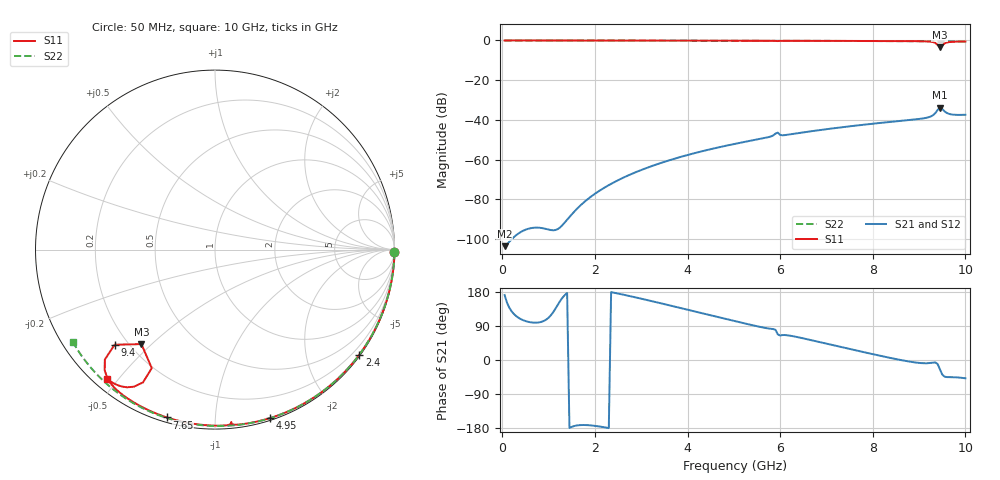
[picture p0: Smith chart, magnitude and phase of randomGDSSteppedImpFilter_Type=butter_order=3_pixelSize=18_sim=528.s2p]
! freq	dB(S11)	phase(S11)	dB(S12)	phase(S12)
!  dB(S21)	phase(S21)	dB(S22)	phase(S22)
!S-par simulation data
#  GHz  S  DB  R 50
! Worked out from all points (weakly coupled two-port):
!   200 points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, 50 MHz to 10 GHz, reference 50 ohm
!   highest |S21| = -33.84 dB at 9.45 GHz (marker M1); lowest = -103.6 dB at 50 MHz (marker M2)
!   lowest |S11| = -3.5 dB at 9.45 GHz (marker M3), VSWR 5.01, Z = 12.2 - j23.2 ohm
!   |S11| at or under -10 dB: nowhere
!   |S22| runs from -0.5 to 0.0 dB; largest |S21 - S12| = 0
!   S11 on the Smith chart (normalised r, x): 50 MHz: open; 2.4 GHz: 0.03, -3.07; 4.95 GHz: 0.02, -1.38; 7.65 GHz: 0.02, -0.75; 9.4 GHz: 0.15, -0.39; 10 GHz: 0.04, -0.47
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0.05  -0.00 -0.8  -103.64 171.3  -103.64 171.3  -0.00 -0.9
0.85  -0.01 -13.0  -94.50 100.9  -94.50 100.9  -0.02 -14.5
1.75  -0.03 -26.5  -81.80 -171.5  -81.80 -171.5  -0.04 -29.5
1.85  -0.04 -28.0  -79.86 -171.9  -79.86 -171.9  -0.04 -31.1
2.4  -0.05 -36.1  -71.61 177.9  -71.61 177.9  -0.05 -40.1
3.4  -0.07 -50.5  -61.91 150.4  -61.91 150.4  -0.07 -55.9
4.95  -0.11 -71.8  -52.45 104.7  -52.45 104.7  -0.12 -79.2
5.05  -0.11 -73.1  -51.97 101.8  -51.97 101.8  -0.12 -80.7
5.75  -0.14 -82.5  -48.71 83.1  -48.71 83.1  -0.15 -90.6
5.95  -0.31 -84.6  -46.44 67.5  -46.44 67.5  -0.16 -93.4
6.05  -0.18 -85.7  -47.78 65.8  -47.78 65.8  -0.17 -94.8
6.7  -0.18 -94.2  -45.65 51.6  -45.65 51.6  -0.20 -103.7
7.65  -0.24 -106.0  -42.86 25.0  -42.86 25.0  -0.26 -116.4
8.35  -0.29 -114.8  -41.10 6.2  -41.10 6.2  -0.32 -125.5
9.15  -0.46 -127.2  -39.01 -8.6  -39.01 -8.6  -0.40 -135.8
9.3  -0.81 -132.4  -37.68 -6.7  -37.68 -6.7  -0.42 -137.8
9.4  -2.26 -136.5  -35.01 -10.6  -35.01 -10.6  -0.43 -139.1
9.45  -3.51 -127.9  -33.84 -24.2  -33.84 -24.2  -0.43 -139.7
9.5  -2.52 -118.1  -34.51 -38.3  -34.51 -38.3  -0.43 -140.4
9.6  -1.04 -120.6  -36.55 -45.1  -36.55 -45.1  -0.45 -141.7
9.75  -0.64 -125.4  -37.42 -45.3  -37.42 -45.3  -0.46 -143.6
10  -0.55 -130.1  -37.44 -48.3  -37.44 -48.3  -0.50 -146.8
